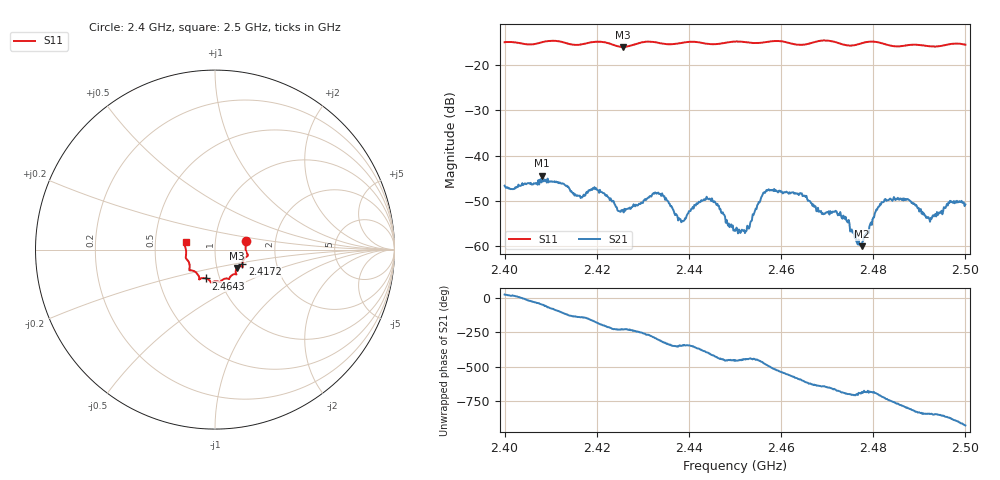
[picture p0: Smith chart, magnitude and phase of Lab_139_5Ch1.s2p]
# Hz S RI R 50
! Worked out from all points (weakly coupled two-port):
!   601 points, 2.4 GHz to 2.5 GHz, reference 50 ohm
!   highest |S21| = -44.42 dB at 2.4082 GHz (marker M1); lowest = -60.1 dB at 2.4775 GHz (marker M2)
!   lowest |S11| = -15.9 dB at 2.4257 GHz (marker M3), VSWR 1.38, Z = 62.4 - j13.1 ohm
!   |S11| at or under -10 dB: start of sweep to end of sweep
!   S12 and S22 are empty: the file has one direction only
!   S11 on the Smith chart (normalised r, x): 2.4 GHz: 1.41, +0.14; 2.4172 GHz: 1.34, -0.22; 2.4643 GHz: 0.86, -0.28; 2.5 GHz: 0.72, +0.06
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2.4e9  0.1731 0.0497  0.00423 0.0019  0 0  0 0
2.408167e9  0.1791 -0.0229  0.00384 -0.00462  0 0  0 0
2.416667e9  0.1529 -0.0749  -0.00265 -0.00222  0 0  0 0
2.417167e9  0.1523 -0.0806  -0.00289 -0.0023  0 0  0 0
2.419667e9  0.1542 -0.0968  -0.00423 -0.000374  0 0  0 0
2.425667e9  0.1226 -0.1022  -0.00168 0.00187  0 0  0 0
2.433333e9  0.1126 -0.1368  0.00214 0.00325  0 0  0 0
2.4385e9  0.0818 -0.1573  0.00185 0.000427  0 0  0 0
2.444667e9  0.0581 -0.1614  0.00213 -0.00246  0 0  0 0
2.45e9  0.0296 -0.1809  -2.82e-05 -0.00147  0 0  0 0
2.452667e9  0.0195 -0.178  0.000185 -0.00166  0 0  0 0
2.456833e9  -0.0124 -0.1805  -0.00247 -0.00334  0 0  0 0
2.464333e9  -0.0502 -0.1605  -0.00222 0.00309  0 0  0 0
2.466667e9  -0.0764 -0.1599  -0.000133 0.00295  0 0  0 0
2.474e9  -0.0977 -0.1362  0.00191 0.000873  0 0  0 0
2.4775e9  -0.1314 -0.1162  0.000801 0.000588  0 0  0 0
2.481e9  -0.1424 -0.1094  0.00248 0.000947  0 0  0 0
2.483333e9  -0.141 -0.0895  0.003 -0.00118  0 0  0 0
2.4875e9  -0.1582 -0.0533  0.000521 -0.00326  0 0  0 0
2.492167e9  -0.1607 -0.0233  -0.000986 -0.00172  0 0  0 0
2.4965e9  -0.1692 0.0235  -0.00256 -0.00151  0 0  0 0
2.5e9  -0.1638 0.0421  -0.00259 0.00126  0 0  0 0
